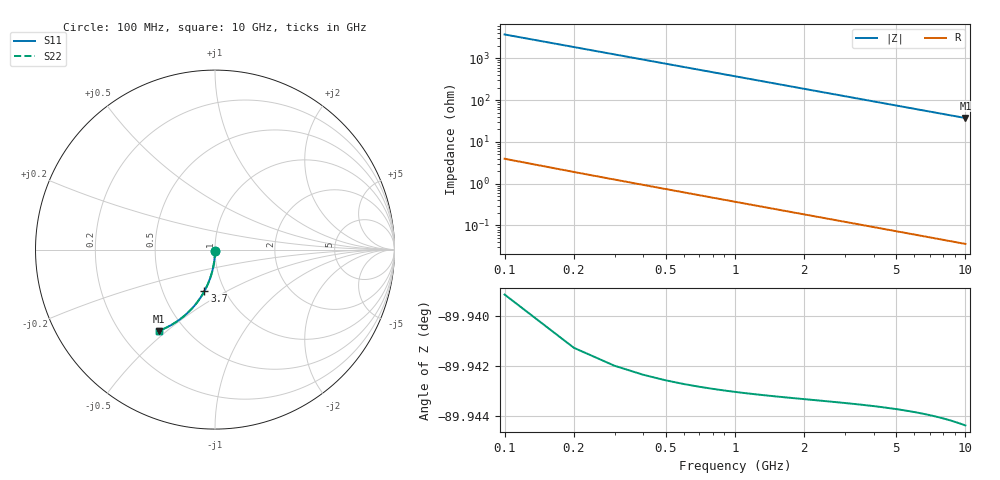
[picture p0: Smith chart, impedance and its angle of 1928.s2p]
# Hz S RI R 50.00
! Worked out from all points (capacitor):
!   100 points, 100 MHz to 10 GHz, reference 50 ohm
!   read as one part in shunt: C = 428 fF near 100 MHz
!   lowest |Z| = 37.2 ohm at 10 GHz (marker M1)
!   S11 on the Smith chart (normalised r, x): 100 MHz: 1.00, -0.01; 3.7 GHz: 0.80, -0.39; 10 GHz: 0.36, -0.47
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1e8  -2.23e-05 -0.00663  0.9999 -0.00683  0.9999 -0.00683  -2.23e-05 -0.00663
2e8  -0.000165 -0.0133  0.9998 -0.0137  0.9998 -0.0137  -0.000165 -0.0133
3e8  -0.000397 -0.0199  0.9995 -0.0205  0.9995 -0.0205  -0.000397 -0.0199
4e8  -0.00072 -0.0265  0.9992 -0.0273  0.9992 -0.0273  -0.00072 -0.0265
5e8  -0.00113 -0.0331  0.9988 -0.0341  0.9988 -0.0341  -0.00113 -0.0331
6e8  -0.00164 -0.0397  0.9983 -0.0409  0.9983 -0.0409  -0.00164 -0.0397
7e8  -0.00223 -0.0463  0.9977 -0.0477  0.9977 -0.0477  -0.00223 -0.0463
8e8  -0.00291 -0.0529  0.997 -0.0545  0.997 -0.0545  -0.00291 -0.0529
9e8  -0.00368 -0.0594  0.9963 -0.0613  0.9963 -0.0613  -0.00368 -0.0594
1.1e9  -0.00549 -0.0725  0.9944 -0.0748  0.9944 -0.0748  -0.00549 -0.0725
1.4e9  -0.00886 -0.092  0.9911 -0.0948  0.9911 -0.0948  -0.00886 -0.092
1.8e9  -0.0146 -0.1176  0.9854 -0.1213  0.9854 -0.1213  -0.0146 -0.1176
2.1e9  -0.0197 -0.1364  0.9802 -0.1408  0.9802 -0.1408  -0.0197 -0.1364
2.5e9  -0.0277 -0.1611  0.9722 -0.1662  0.9722 -0.1662  -0.0277 -0.1611
2.9e9  -0.0369 -0.1851  0.963 -0.1911  0.963 -0.1911  -0.0369 -0.1851
3.4e9  -0.05 -0.214  0.9499 -0.2211  0.9499 -0.2211  -0.05 -0.214
3.7e9  -0.0587 -0.2308  0.9412 -0.2384  0.9412 -0.2384  -0.0587 -0.2308
4.4e9  -0.081 -0.2679  0.9189 -0.277  0.9189 -0.277  -0.081 -0.2679
5.1e9  -0.1059 -0.302  0.894 -0.3126  0.894 -0.3126  -0.1059 -0.302
6.7e9  -0.1699 -0.3681  0.83 -0.3821  0.83 -0.3821  -0.1699 -0.3681
8.4e9  -0.2436 -0.42  0.7562 -0.4376  0.7562 -0.4376  -0.2436 -0.42
1e10  -0.3137 -0.453  0.686 -0.4741  0.686 -0.4741  -0.3137 -0.453
